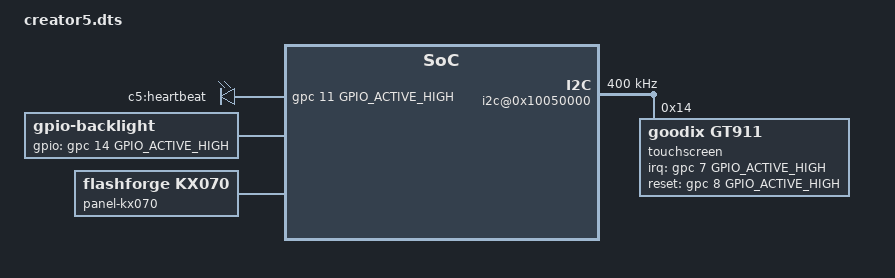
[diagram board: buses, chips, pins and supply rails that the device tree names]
/*
 * FlashForge Creator 5 for kernel 6.6: FlashForge's device tree (decompiled,
 * unchanged) plus what 6.6 needs on top.
 */
#include <dt-bindings/gpio/gpio.h>
#include <dt-bindings/interrupt-controller/irq.h>
#include "creator5_stock.dts"

/ {
	leds {
		compatible = "gpio-leds";

		/*
		 * PC11: FlashForge's /usr/prog/bin/sys_start.sh (started by
		 * app_startup.sh) toggles it every second for as long as the printer
		 * runs, through soc_gpio.ko's cmd_gpio, which 6.6 can't load.
		 * The pattern trigger keeps the same square wave going.
		 */
		heartbeat {
			label = "c5:heartbeat";
			gpios = <&{/apb/pinctrl@0x13601000/gpc} 11 GPIO_ACTIVE_HIGH 0>;
			linux,default-trigger = "pattern";
			led-pattern = <1 1000 1 0 0 1000 0 0>;
		};
	};

	/*
	 * Backlight on PC14, active high (FlashForge's gpio_backlight.sh). It
	 * follows the framebuffer's blank requests: GrumpyScreen's
	 * display_sleep_sec turns the screen dark.
	 */
	backlight {
		compatible = "gpio-backlight";
		gpios = <&{/apb/pinctrl@0x13601000/gpc} 14 GPIO_ACTIVE_HIGH 0>;
		default-on;
	};
};

/ {
	/* The KX070 LVDS panel (drivers/panel-kx070.c) */
	panel-kx070 {
		compatible = "flashforge,kx070";
	};
};

/*
 * Ingenic's framebuffer driver (ingenicfb) drives the panel. FlashForge's
 * soc_fb runs without the layer composer, so this does too.
 */
&{/ahb0/dpu@0x13050000} {
	status = "okay";
	ingenic,rot_angle = <0>;
	/delete-property/ composer-support;
};

/* 6.6's x2600.dtsi sets this on the host controller (hub: Wi-Fi, camera, CH343) */
&{/ahb2/usb@0x13540000} {
	disable-over-current;
};

/*
 * eMMC: FlashForge caps it at 25 MHz, a fifth of what Ingenic's module_base
 * board runs the same 8-bit HS200 setup at (100 MHz). At 25 MHz it reads about
 * 21 MB/s.
 */
&{/ahb2/msc@0x13450000} {
	max-frequency = <100000000>;
};

/*
 * Touch: Goodix GT911 on I2C bus 0 (PC00/PC01), interrupt PC07, reset PC08, as
 * FlashForge's /module_driver/soc_i2c.sh and /usr/prog/app_startup.sh
 * (gt9xx_touch.ko) set it up. Mainline's goodix driver only reads the chip's
 * own 800x480 configuration; it never writes one.
 */
&{/apb/i2c@0x10050000} {
	status = "okay";
	clock-frequency = <400000>;
	pinctrl-names = "default";
	pinctrl-0 = <&{/apb/pinctrl@0x13601000/i2c0-pin/i2c0-pc}>;

	touchscreen@14 {
		compatible = "goodix,gt911";
		reg = <0x14>;
		interrupt-parent = <&{/apb/pinctrl@0x13601000/gpc}>;
		interrupts = <7 IRQ_TYPE_EDGE_FALLING 0>;
		irq-gpios = <&{/apb/pinctrl@0x13601000/gpc} 7 GPIO_ACTIVE_HIGH 0>;
		reset-gpios = <&{/apb/pinctrl@0x13601000/gpc} 8 GPIO_ACTIVE_HIGH 0>;
	};
};
